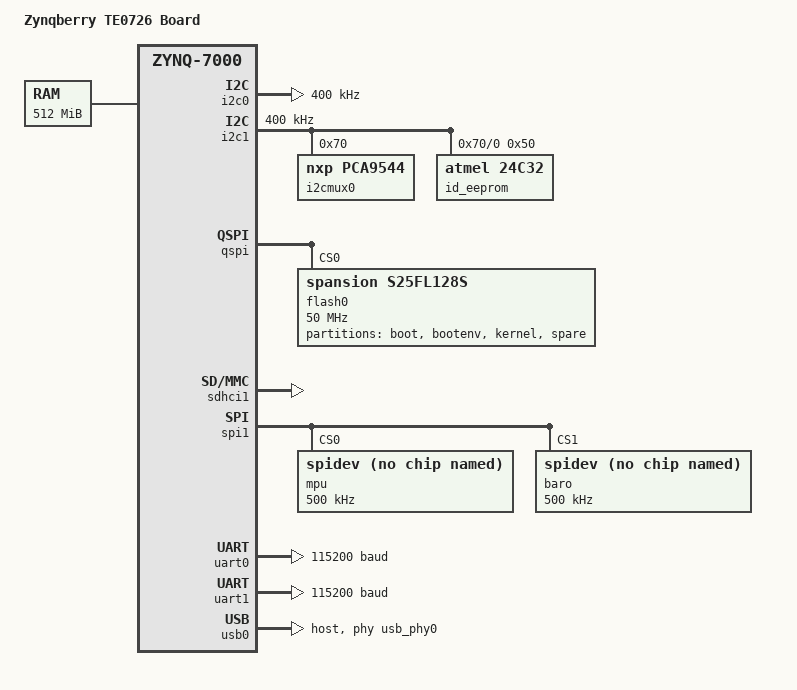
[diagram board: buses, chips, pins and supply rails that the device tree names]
/*
 *  Copyright (C) 2011 - 2014 Xilinx
 *  Copyright (C) 2012 National Instruments Corp.
 *
 * This software is licensed under the terms of the GNU General Public
 * License version 2, as published by the Free Software Foundation, and
 * may be copied, distributed, and modified under those terms.
 *
 * This program is distributed in the hope that it will be useful,
 * but WITHOUT ANY WARRANTY; without even the implied warranty of
 * MERCHANTABILITY or FITNESS FOR A PARTICULAR PURPOSE.  See the
 * GNU General Public License for more details.
 */
/dts-v1/;
/include/ "zynq-7000.dtsi"

/ {
	model = "Zynqberry TE0726 Board";
	compatible = "xlnx,zynqberry", "xlnx,zynq-7000";

	cpus {
		cpu@0 {
			operating-points = <666666 1000000 333333 1000000>;
		};
	};

	aliases {
		serial0 = &uart1;
                serial1 = &uart0;
		spi0 = &qspi;
                spi1 = &spi1;
	};

	memory {
		device_type = "memory";
		reg = <0x0 0x20000000>;
	};

	chosen {
		bootargs = "";
		stdout-path = "serial0:115200n8";
	};

	usb_phy0: usb_phy@0 {
		compatible = "ulpi-phy";
		#phy-cells = <0>;
		reg = <0xe0002000 0x1000>;
		view-port = <0x0170>;
		drv-vbus;
	};

};

&gpio0 {
	emio-gpio-width = <15>;
	gpio-mask-high = <0x0>;
	gpio-mask-low = <0x5600>;
};

&i2c0 {
	clock-frequency = <400000>;
	status = "okay";
};

&i2c1 {
	#address-cells = <1>;
	#size-cells = <0>;
	clock-frequency = <400000>;
	status = "okay";

	i2cmux0: i2cmux@70  {
		compatible = "nxp,pca9544";
		#address-cells = <1>;
		#size-cells = <0>;
		reg = <0x70>;


		i2c1@0 {
			#address-cells = <1>;
			#size-cells = <0>;
			reg = <0>;

			id_eeprom@50 {
				compatible = "atmel,24c32";
				reg = <0x50>;
			};

		};
		i2c1@1 {	// Display Interface Connector
			#address-cells = <1>;
			#size-cells = <0>;
			reg = <1>;
		};
		i2c1@2 {	// HDMI Interface Connector
			#address-cells = <1>;
			#size-cells = <0>;
			reg = <2>;
		};
		i2c1@3 {	// Camera Interface Connector
			#address-cells = <1>;
			#size-cells = <0>;
			reg = <3>;
		};
	};

};

&intc {
	num_cpus = <2>;
	num_interrupts = <96>;
};

&qspi {
	#address-cells = <1>;
	#size-cells = <0>;
	status = "okay";
	flash0: flash@0 {
		compatible = "spansion,s25fl128s";
		reg = <0x0>;
		#address-cells = <1>;
		#size-cells = <1>;
		spi-max-frequency = <50000000>;
		partition@0x00000000 {
			label = "boot";
			reg = <0x00000000 0x00500000>;
		};
		partition@0x00500000 {
			label = "bootenv";
			reg = <0x00500000 0x00020000>;
		};
		partition@0x00520000 {
			label = "kernel";
			reg = <0x00520000 0x00a80000>;
		};
		partition@0x00fa0000 {
			label = "spare";
			reg = <0x00fa0000 0x00000000>;
		};
	};
};

&sdhci1 {
	status = "okay";
	xlnx,has-cd = <0x1>;
	xlnx,has-power = <0x0>;
	xlnx,has-wp = <0x0>;
};

&spi1 {
	is-decoded-cs = <0>;
	num-cs = <3>;
	status = "okay";
        
        mpu:spidev@0{
            compatible = "spidev";
            reg = <0x0>;
            #address-cells = <0x1>;
            #size-cells = <0x0>;
            spi-max-frequency = <0x7a120>; 
        };
 
        baro:spidev@1{
            compatible = "spidev";
            reg = <0x1>;
            #address-cells = <0x1>;
            #size-cells = <0x0>;
            spi-max-frequency = <0x7a120>;
        };

};

&uart0 {
	current-speed = <115200>;
	device_type = "serial";
	port-number = <0>;
	status = "okay";
};

&uart1 {
	current-speed = <115200>;
	device_type = "serial";
	port-number = <1>;
	status = "okay";
};

&usb0 {
	dr_mode = "host";
	phy_type = "ulpi";
	status = "okay";
	usb-reset = <&gpio0 7 0>;
        usb-phy = <&usb_phy0>;
};

&clkc {
	fclk-enable = <0xf>;
	ps-clk-frequency = <33333333>;
};

